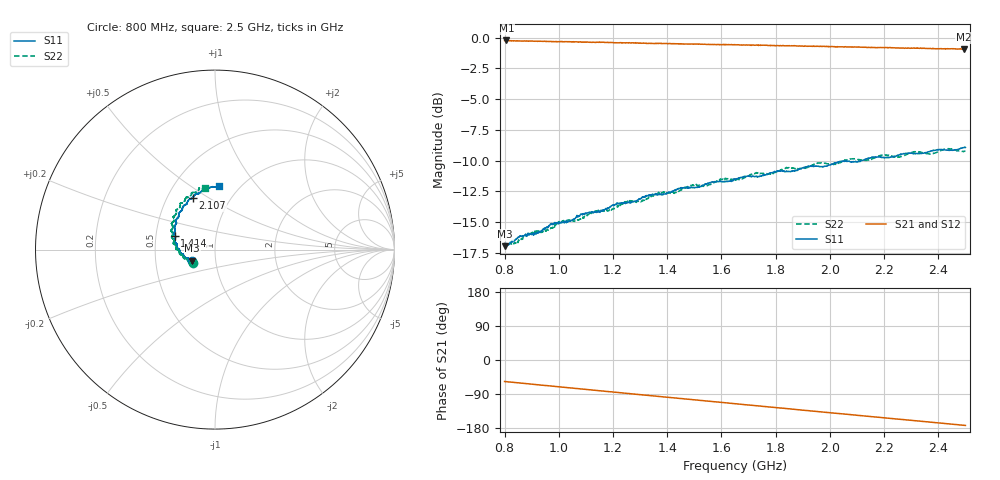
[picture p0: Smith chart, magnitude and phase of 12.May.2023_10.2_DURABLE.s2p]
!Keysight Technologies N9950B: A.12.38
!Date: Friday, 12 May 2023 13:36:04
!Timezone: (UTC-06:00) Central Time (US & Canada)
!Model: N9950B
!Serial: MY61131330
!GPS Latitude:
!GPS Longitude:
!GPS TimeStamp: 0001-01-01 00:00:00Z
!GPS Seconds Since Last Read: 0
!CHECKSUM:0387232495
!Correction: S11(ON U)S21(ON U)S12(ON U)S22(ON U)
!S2P File: Measurements:S11,S21,S12,S22:
# Hz S DB R 50
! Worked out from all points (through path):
!   1001 points, 800 MHz to 2.5 GHz, reference 50 ohm
!   highest |S21| = -0.23 dB at 806.8 MHz (marker M1); lowest = -0.9 dB at 2.495 GHz (marker M2)
!   group delay of S21, straight-line fit = 189 ps
!   lowest |S11| = -17.0 dB at 801.7 MHz (marker M3), VSWR 1.33, Z = 38.4 - j4.84 ohm
!   |S11| at or under -10 dB: start of sweep to 2.117 GHz
!   |S22| runs from -16.9 to -9.0 dB; largest |S21 - S12| = 0.0054
!   S11 on the Smith chart (normalised r, x): 800 MHz: 0.77, -0.10; 1.414 GHz: 0.63, +0.10; 2.107 GHz: 0.67, +0.43; 2.5 GHz: 0.81, +0.66
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8e8  -16.92 -154.4  -0.24 -56.7  -0.25 -56.7  -16.78 -148.7
8.017e8  -16.96 -154.2  -0.26 -56.9  -0.26 -56.9  -16.70 -148.5
8.068e8  -16.81 -154.6  -0.23 -57.3  -0.27 -57.2  -16.74 -148.9
8.578e8  -16.11 -157.1  -0.27 -60.7  -0.30 -60.8  -16.44 -154.8
1.0091e9  -14.99 -169.3  -0.32 -71.3  -0.36 -71.4  -15.03 -165.1
1.0839e9  -14.35 -173.8  -0.38 -76.5  -0.38 -76.5  -14.67 -169.5
1.2301e9  -13.45 174.6  -0.41 -86.6  -0.43 -86.6  -13.56 179.9
1.3083e9  -12.94 170.0  -0.46 -92.0  -0.46 -92.0  -13.21 175.9
1.3678e9  -12.76 164.4  -0.47 -96.1  -0.50 -96.0  -12.58 171.9
1.4137e9  -12.55 161.6  -0.50 -99.2  -0.50 -99.2  -12.66 169.7
1.4885e9  -12.17 155.6  -0.53 -104.2  -0.55 -104.3  -12.05 164.2
1.65e9  -11.49 145.1  -0.57 -115.4  -0.61 -115.3  -11.50 154.6
1.7622e9  -11.17 136.9  -0.63 -123.0  -0.63 -123.0  -11.06 147.5
1.9339e9  -10.47 125.2  -0.71 -134.5  -0.73 -134.5  -10.39 134.9
2.1073e9  -10.08 113.1  -0.76 -146.4  -0.78 -146.4  -9.96 125.6
2.2178e9  -9.75 105.7  -0.81 -153.8  -0.83 -153.8  -9.59 118.8
2.2586e9  -9.51 102.9  -0.85 -156.5  -0.86 -156.5  -9.71 115.2
2.3198e9  -9.42 98.2  -0.86 -160.5  -0.88 -160.5  -9.28 112.0
2.3725e9  -9.21 95.1  -0.89 -164.0  -0.91 -164.2  -9.46 107.9
2.4337e9  -9.15 90.2  -0.91 -168.0  -0.92 -168.3  -9.04 104.6
2.4949e9  -8.95 86.7  -0.95 -172.3  -0.97 -172.3  -9.25 99.9
2.5e9  -8.93 86.1  -0.94 -172.7  -0.97 -172.7  -9.21 99.2
